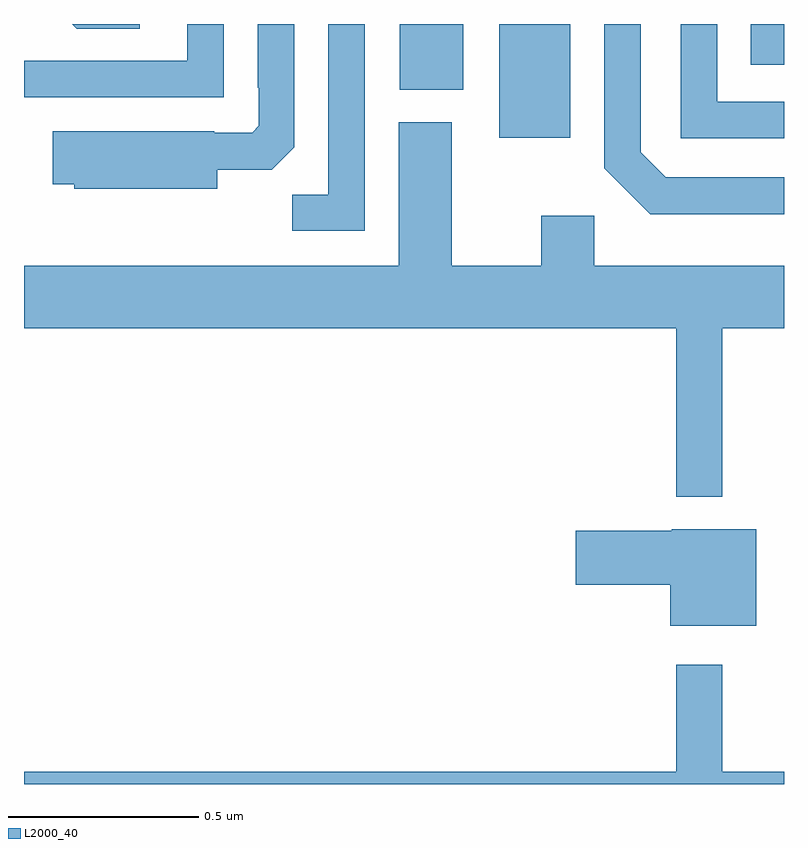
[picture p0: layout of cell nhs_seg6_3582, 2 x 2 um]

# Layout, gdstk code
import gdstk
lib = gdstk.Library(unit=1e-6, precision=1e-09)
def R(c, l, rs):  # rectangles x0, y0, x1, y1
    for r in rs: c.add(gdstk.rectangle(r[:2], r[2:], *l))
def P(c, l, *ps):  # polygons
    for p in ps: c.add(gdstk.Polygon(p, *l))
L2000_40 = (2000, 40)

nhs_seg6_3582 = lib.new_cell('nhs_seg6_3582')
R(nhs_seg6_3582, L2000_40, [(160.25,917.201,160.438,917.5), (159.989,917.327,160.156,917.5), (160.913,917.393,161,917.5)])
P(nhs_seg6_3582, L2000_40, [(159.508,917.117),(159.652,917.117),(159.711,917.176),(159.711,917.5),(159.615,917.5),(159.615,917.332),(159.618,917.332),(159.618,917.232),(159.6,917.214),(159.5,917.214),(159.5,917.218),(159.076,917.218),(159.076,917.078),(159.132,917.078),(159.132,917.066),(159.508,917.066)],
  [(159.525,917.5),(159.429,917.5),(159.429,917.403),(159,917.403),(159,917.307),(159.525,917.307)],
  [(159.304,917.5),(159.127,917.5),(159.139,917.488),(159.304,917.488)],
  [(161,917.295),(160.824,917.295),(160.824,917.5),(160.728,917.5),(160.728,917.199),(161,917.199)],
  [(159.897,917.5),(159.801,917.5),(159.801,917.051),(159.706,917.051),(159.706,916.956),(159.897,916.956)],
  [(161,917.097),(160.689,917.097),(160.623,917.163),(160.623,917.5),(160.527,917.5),(160.527,917.121),(160.648,917),(161,917)],
  [(160.837,916.7),(161,916.7),(161,916.864),(160.5,916.864),(160.5,916.996),(160.361,916.996),(160.361,916.864),(160.126,916.864),(160.126,917.242),(159.986,917.242),(159.986,916.864),(159,916.864),(159,916.7),(160.716,916.7),(160.716,916.256),(160.837,916.256)],
  [(160.927,916.171),(160.704,916.171),(160.704,916.166),(160.452,916.166),(160.452,916.024),(160.7,916.024),(160.7,915.917),(160.927,915.917)],
  [(161,915.532),(160.837,915.532),(160.837,915.814),(160.716,915.814),(160.716,915.532),(159,915.532),(159,915.5),(161,915.5)])

lib.write_gds('nhs_seg6_3582.gds')
